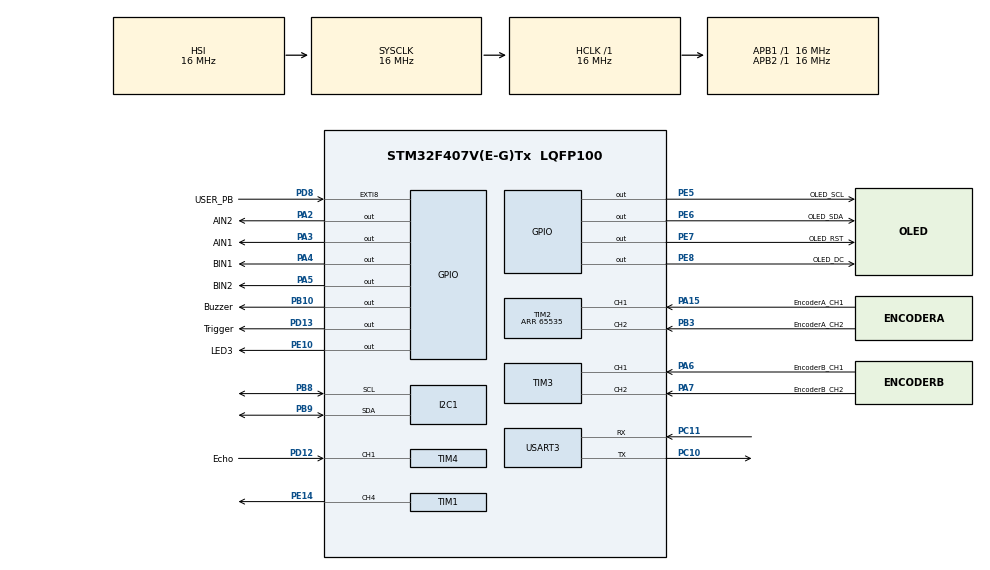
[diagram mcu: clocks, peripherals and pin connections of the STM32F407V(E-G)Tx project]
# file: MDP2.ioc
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FREERTOS.Tasks01=defaultTask,24,128,StartDefaultTask,Default,NULL,Dynamic,NULL,NULL;motorTask,8,128,StartMotorTask,Default,NULL,Dynamic,NULL,NULL;OLEDTask,8,128,StartOLEDTask,Default,NULL,Dynamic,NULL,NULL;gyroTask,8,128,StartGyroTask,Default,NULL,Dynamic,NULL,NULL;ultrasonicTask,8,128,StartUltrasonicTask,Default,NULL,Dynamic,NULL,NULL;communicateTask,8,128,StartCommunicateTask,Default,NULL,Dynamic,NULL,NULL;encoderRTask,8,128,StartEncoderRTask,Default,NULL,Dynamic,NULL,NULL;encoderLTask,8,128,StartEncoderLTask,Default,NULL,Dynamic,NULL,NULL
FREERTOS.configUSE_NEWLIB_REENTRANT=1
Mcu.Family=STM32F4
Mcu.Name=STM32F407V(E-G)Tx
Mcu.Package=LQFP100
NVIC.PriorityGroup=NVIC_PRIORITYGROUP_4
NVIC.RCC_IRQn=true\:5\:0\:false\:false\:true\:true\:true\:false\:true
NVIC.TIM1_BRK_TIM9_IRQn=true\:5\:0\:false\:false\:true\:false\:true\:true\:true
NVIC.TIM1_UP_TIM10_IRQn=true\:5\:0\:false\:false\:true\:false\:true\:true\:true
NVIC.TIM4_IRQn=true\:5\:0\:false\:false\:true\:true\:true\:true\:true
NVIC.TIM8_TRG_COM_TIM14_IRQn=true\:5\:0\:false\:false\:true\:false\:true\:true\:true
NVIC.USART3_IRQn=true\:5\:0\:false\:false\:true\:true\:true\:true\:true
PA15.GPIO_Label=EncoderA_CH1
PA15.Signal=S_TIM2_CH1_ETR
PA2.GPIO_Label=AIN2
PA2.GPIO_Speed=GPIO_SPEED_FREQ_HIGH
PA2.PinState=GPIO_PIN_RESET
PA2.Signal=GPIO_Output
PA3.GPIO_Label=AIN1
PA3.GPIO_Speed=GPIO_SPEED_FREQ_HIGH
PA3.Signal=GPIO_Output
PA4.GPIO_Label=BIN1
PA4.GPIO_Speed=GPIO_SPEED_FREQ_HIGH
PA4.Signal=GPIO_Output
PA5.GPIO_Label=BIN2
PA5.GPIO_Speed=GPIO_SPEED_FREQ_HIGH
PA5.Signal=GPIO_Output
PA6.GPIO_Label=EncoderB_CH1
PA6.Signal=S_TIM3_CH1
PA7.GPIO_Label=EncoderB_CH2
PA7.Signal=S_TIM3_CH2
PB10.GPIO_Label=Buzzer
PB10.Signal=GPIO_Output
PB3.GPIO_Label=EncoderA_CH2
PB3.Signal=S_TIM2_CH2
PB8.Mode=I2C
PB8.Signal=I2C1_SCL
PB9.Mode=I2C
PB9.Signal=I2C1_SDA
PC10.Mode=Asynchronous
PC10.Signal=USART3_TX
PC11.Mode=Asynchronous
PC11.Signal=USART3_RX
PC6.GPIO_Label=PWMA
PC6.Signal=S_TIM8_CH1
PC7.GPIO_Label=PWMB
PC7.Signal=S_TIM8_CH2
PD12.GPIO_Label=Echo
PD12.Signal=S_TIM4_CH1
PD13.GPIO_Label=Trigger
PD13.Signal=GPIO_Output
PD8.GPIO_Label=USER_PB
PD8.Signal=GPXTI8
PE10.GPIO_Label=LED3
PE10.Signal=GPIO_Output
PE14.Signal=S_TIM1_CH4
PE5.GPIO_Label=OLED_SCL
PE5.Signal=GPIO_Output
PE6.GPIO_Label=OLED_SDA
PE6.Signal=GPIO_Output
PE7.GPIO_Label=OLED_RST
PE7.Signal=GPIO_Output
PE8.GPIO_Label=OLED_DC
PE8.Signal=GPIO_Output
PH0-OSC_IN.Mode=HSE-External-Oscillator
PH0-OSC_IN.Signal=RCC_OSC_IN
PH1-OSC_OUT.Mode=HSE-External-Oscillator
PH1-OSC_OUT.Signal=RCC_OSC_OUT
ProjectManager.HeapSize=0x200
ProjectManager.StackSize=0x400
ProjectManager.TargetToolchain=STM32CubeIDE
RCC.AHBFreq_Value=16000000
RCC.APB1Freq_Value=16000000
RCC.APB2Freq_Value=16000000
RCC.CortexFreq_Value=16000000
RCC.HSE_VALUE=25000000
RCC.HSI_VALUE=16000000
RCC.LSE_VALUE=32768
RCC.SYSCLKFreq_VALUE=16000000
RCC.VCOOutputFreq_Value=192000000
SH.S_TIM1_CH4.0=TIM1_CH4,PWM Generation4 CH4
SH.S_TIM2_CH1_ETR.0=TIM2_CH1,Encoder_Interface
SH.S_TIM2_CH2.0=TIM2_CH2,Encoder_Interface
SH.S_TIM3_CH1.0=TIM3_CH1,Encoder_Interface
SH.S_TIM3_CH2.0=TIM3_CH2,Encoder_Interface
SH.S_TIM4_CH1.0=TIM4_CH1,Input_Capture1_from_TI1
SH.S_TIM8_CH1.0=TIM8_CH1
SH.S_TIM8_CH2.0=TIM8_CH2
TIM1.AutoReloadPreload=TIM_AUTORELOAD_PRELOAD_ENABLE
TIM1.Channel-PWM\ Generation4\ CH4=TIM_CHANNEL_4
TIM1.Period=1000
TIM1.Prescaler=160
TIM2.EncoderMode=TIM_ENCODERMODE_TI12
TIM2.IC1Filter=10
TIM2.IC2Filter=10
TIM2.Period=65535
TIM3.EncoderMode=TIM_ENCODERMODE_TI12
TIM3.IC1Filter=10
TIM3.IC2Filter=10
TIM4.Channel-Input_Capture1_from_TI1=TIM_CHANNEL_1
TIM8.Channel-PWM\ Generation1\ No\ Output=TIM_CHANNEL_1
TIM8.Channel-PWM\ Generation2\ No\ Output=TIM_CHANNEL_2
TIM8.Period=7199
USART3.VirtualMode=VM_ASYNC
VP_FREERTOS_VS_CMSIS_V2.Mode=CMSIS_V2
VP_TIM1_VS_ClockSourceINT.Mode=Internal
VP_TIM8_VS_ClockSourceINT.Mode=Internal
VP_TIM8_VS_no_output1.Mode=PWM Generation1 No Output
VP_TIM8_VS_no_output2.Mode=PWM Generation2 No Output
board=custom

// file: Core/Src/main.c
/* USER CODE BEGIN Header */
/**
 ******************************************************************************
 * @file           : main.c
 * @brief          : Main program body
 ******************************************************************************
 * @attention
 *
 * Copyright (c) 2023 STMicroelectronics.
 * All rights reserved.
 *
 * This software is licensed under terms that can be found in the LICENSE file
 * in the root directory of this software component.
 * If no LICENSE file comes with this software, it is provided AS-IS.
 *
 ******************************************************************************
 */
/* USER CODE END Header */
#include "main.h"
#include "cmsis_os.h"

/* USER CODE BEGIN PD */
#define SERVOCENTER 150
#define SERVORIGHT 210
#define SERVOLEFT 105
/* USER CODE END PD */

I2C_HandleTypeDef hi2c1;

TIM_HandleTypeDef htim1;
TIM_HandleTypeDef htim2;
TIM_HandleTypeDef htim3;
TIM_HandleTypeDef htim4;
TIM_HandleTypeDef htim8;

UART_HandleTypeDef huart3;

/* Definitions for defaultTask */
osThreadId_t defaultTaskHandle;
const osThreadAttr_t defaultTask_attributes = { .name = "defaultTask",
		.stack_size = 128 * 4, .priority = (osPriority_t) osPriorityNormal, };
/* Definitions for motorTask */
osThreadId_t motorTaskHandle;
const osThreadAttr_t motorTask_attributes = { .name = "motorTask", .stack_size =
		128 * 4, .priority = (osPriority_t) osPriorityLow, };
/* Definitions for OLEDTask */
osThreadId_t OLEDTaskHandle;
const osThreadAttr_t OLEDTask_attributes = { .name = "OLEDTask", .stack_size =
		128 * 4, .priority = (osPriority_t) osPriorityLow, };
/* Definitions for gyroTask */
osThreadId_t gyroTaskHandle;
const osThreadAttr_t gyroTask_attributes = { .name = "gyroTask", .stack_size =
		128 * 4, .priority = (osPriority_t) osPriorityLow, };
/* Definitions for ultrasonicTask */
osThreadId_t ultrasonicTaskHandle;
const osThreadAttr_t ultrasonicTask_attributes = { .name = "ultrasonicTask",
		.stack_size = 128 * 4, .priority = (osPriority_t) osPriorityLow, };
/* Definitions for communicateTask */
osThreadId_t communicateTaskHandle;
const osThreadAttr_t communicateTask_attributes = { .name = "communicateTask",
		.stack_size = 128 * 4, .priority = (osPriority_t) osPriorityLow, };
/* Definitions for encoderRTask */
osThreadId_t encoderRTaskHandle;
const osThreadAttr_t encoderRTask_attributes = { .name = "encoderRTask",
		.stack_size = 128 * 4, .priority = (osPriority_t) osPriorityLow, };
/* Definitions for encoderLTask */
osThreadId_t encoderLTaskHandle;
const osThreadAttr_t encoderLTask_attributes = { .name = "encoderLTask",
		.stack_size = 128 * 4, .priority = (osPriority_t) osPriorityLow, };

void SystemClock_Config(void);
static void MX_GPIO_Init(void);
static void MX_I2C1_Init(void);
static void MX_TIM1_Init(void);
static void MX_TIM2_Init(void);
static void MX_TIM3_Init(void);
static void MX_TIM4_Init(void);
static void MX_TIM8_Init(void);
static void MX_USART3_UART_Init(void);
void StartDefaultTask(void *argument);
void StartMotorTask(void *argument);
void StartOLEDTask(void *argument);
void StartGyroTask(void *argument);
void StartUltrasonicTask(void *argument);
void StartCommunicateTask(void *argument);
void StartEncoderRTask(void *argument);
void StartEncoderLTask(void *argument);

/* USER CODE BEGIN 0 */
// communication
uint8_t aRxBuffer[5] = { 0 };
int flagDone = 0;
int magnitude = 0;

// movement
uint16_t pwmVal_servo = SERVOCENTER;
uint16_t pwmVal_R = 0;
uint16_t pwmVal_L = 0;
int times_acceptable = 0;
int e_brake = 0;
//int stopped = 0;

// encoder
int32_t rightEncoderVal = 0, leftEncoderVal = 0;
int32_t rightTarget = 0, leftTarget = 0;
double target_angle = 0;

// gyro
double total_angle = 0;
uint8_t gyroBuffer[20];
uint8_t ICMAddress = 0x68;
double error_angle = 0;
// ultrasonic
int Is_First_Captured = 0;
int32_t IC_Val1 = 0;
int32_t IC_Val2 = 0;
uint16_t Difference = 0;
uint16_t uDistance = 0;
int k=0;
/* USER CODE END 0 */

int main(void) {

	/* MCU Configuration--------------------------------------------------------*/

	/* Reset of all peripherals, Initializes the Flash interface and the Systick. */
	HAL_Init();

	/* Configure the system clock */
	SystemClock_Config();

	/* Initialize all configured peripherals */
	MX_GPIO_Init();
	MX_I2C1_Init();
	MX_TIM1_Init();
	MX_TIM2_Init();
	MX_TIM3_Init();
	MX_TIM4_Init();
	MX_TIM8_Init();
	MX_USART3_UART_Init();
	/* USER CODE BEGIN 2 */
	OLED_Init();
	HAL_UART_Receive_IT(&huart3, (uint8_t*) aRxBuffer, 5);
	/* USER CODE END 2 */

	/* Init scheduler */
	osKernelInitialize();

	/* Create the thread(s) */
	/* creation of defaultTask */
	defaultTaskHandle = osThreadNew(StartDefaultTask, NULL,
			&defaultTask_attributes);

	/* creation of motorTask */
	motorTaskHandle = osThreadNew(StartMotorTask, NULL, &motorTask_attributes);

	/* creation of OLEDTask */
	OLEDTaskHandle = osThreadNew(StartOLEDTask, NULL, &OLEDTask_attributes);

	/* creation of gyroTask */
	gyroTaskHandle = osThreadNew(StartGyroTask, NULL, &gyroTask_attributes);

	/* creation of ultrasonicTask */
	ultrasonicTaskHandle = osThreadNew(StartUltrasonicTask, NULL,
			&ultrasonicTask_attributes);

	/* creation of communicateTask */
	communicateTaskHandle = osThreadNew(StartCommunicateTask, NULL,
			&communicateTask_attributes);

	/* creation of encoderRTask */
	encoderRTaskHandle = osThreadNew(StartEncoderRTask, NULL,
			&encoderRTask_attributes);

	/* creation of encoderLTask */
	encoderLTaskHandle = osThreadNew(StartEncoderLTask, NULL,
			&encoderLTask_attributes);

	/* Start scheduler */
	osKernelStart();

	/* We should never get here as control is now taken by the scheduler */
	/* Infinite loop */
	while (1) {

	}
}

void SystemClock_Config(void) {
	RCC_OscInitTypeDef RCC_OscInitStruct = { 0 };
	RCC_ClkInitTypeDef RCC_ClkInitStruct = { 0 };

	/** Configure the main internal regulator output voltage
	 */
	__HAL_RCC_PWR_CLK_ENABLE();
	__HAL_PWR_VOLTAGESCALING_CONFIG(PWR_REGULATOR_VOLTAGE_SCALE1);

	/** Initializes the RCC Oscillators according to the specified parameters
	 * in the RCC_OscInitTypeDef structure.
	 */
	RCC_OscInitStruct.OscillatorType = RCC_OSCILLATORTYPE_HSI;
	RCC_OscInitStruct.HSIState = RCC_HSI_ON;
	RCC_OscInitStruct.HSICalibrationValue = RCC_HSICALIBRATION_DEFAULT;
	RCC_OscInitStruct.PLL.PLLState = RCC_PLL_NONE;
	if (HAL_RCC_OscConfig(&RCC_OscInitStruct) != HAL_OK) {
		Error_Handler();
	}

	/** Initializes the CPU, AHB and APB buses clocks
	 */
	RCC_ClkInitStruct.ClockType = RCC_CLOCKTYPE_HCLK | RCC_CLOCKTYPE_SYSCLK
			| RCC_CLOCKTYPE_PCLK1 | RCC_CLOCKTYPE_PCLK2;
	RCC_ClkInitStruct.SYSCLKSource = RCC_SYSCLKSOURCE_HSI;
	RCC_ClkInitStruct.AHBCLKDivider = RCC_SYSCLK_DIV1;
	RCC_ClkInitStruct.APB1CLKDivider = RCC_HCLK_DIV1;
	RCC_ClkInitStruct.APB2CLKDivider = RCC_HCLK_DIV1;

	if (HAL_RCC_ClockConfig(&RCC_ClkInitStruct, FLASH_LATENCY_0) != HAL_OK) {
		Error_Handler();
	}
}

static void MX_I2C1_Init(void) {

	hi2c1.Instance = I2C1;
	hi2c1.Init.ClockSpeed = 100000;
	hi2c1.Init.DutyCycle = I2C_DUTYCYCLE_2;
	hi2c1.Init.OwnAddress1 = 0;
	hi2c1.Init.AddressingMode = I2C_ADDRESSINGMODE_7BIT;
	hi2c1.Init.DualAddressMode = I2C_DUALADDRESS_DISABLE;
	hi2c1.Init.OwnAddress2 = 0;
	hi2c1.Init.GeneralCallMode = I2C_GENERALCALL_DISABLE;
	hi2c1.Init.NoStretchMode = I2C_NOSTRETCH_DISABLE;
	if (HAL_I2C_Init(&hi2c1) != HAL_OK) {
		Error_Handler();
	}

}

static void MX_TIM1_Init(void) {

	TIM_ClockConfigTypeDef sClockSourceConfig = { 0 };
	TIM_MasterConfigTypeDef sMasterConfig = { 0 };
	TIM_OC_InitTypeDef sConfigOC = { 0 };
	TIM_BreakDeadTimeConfigTypeDef sBreakDeadTimeConfig = { 0 };

	htim1.Instance = TIM1;
	htim1.Init.Prescaler = 160;
	htim1.Init.CounterMode = TIM_COUNTERMODE_UP;
	htim1.Init.Period = 1000;
	htim1.Init.ClockDivision = TIM_CLOCKDIVISION_DIV1;
	htim1.Init.RepetitionCounter = 0;
	htim1.Init.AutoReloadPreload = TIM_AUTORELOAD_PRELOAD_ENABLE;
	if (HAL_TIM_Base_Init(&htim1) != HAL_OK) {
		Error_Handler();
	}
	sClockSourceConfig.ClockSource = TIM_CLOCKSOURCE_INTERNAL;
	if (HAL_TIM_ConfigClockSource(&htim1, &sClockSourceConfig) != HAL_OK) {
		Error_Handler();
	}
	if (HAL_TIM_PWM_Init(&htim1) != HAL_OK) {
		Error_Handler();
	}
	sMasterConfig.MasterOutputTrigger = TIM_TRGO_RESET;
	sMasterConfig.MasterSlaveMode = TIM_MASTERSLAVEMODE_DISABLE;
	if (HAL_TIMEx_MasterConfigSynchronization(&htim1, &sMasterConfig)
			!= HAL_OK) {
		Error_Handler();
	}
	sConfigOC.OCMode = TIM_OCMODE_PWM1;
	sConfigOC.Pulse = 0;
	sConfigOC.OCPolarity = TIM_OCPOLARITY_HIGH;
	sConfigOC.OCFastMode = TIM_OCFAST_DISABLE;
	sConfigOC.OCIdleState = TIM_OCIDLESTATE_RESET;
	sConfigOC.OCNIdleState = TIM_OCNIDLESTATE_RESET;
	if (HAL_TIM_PWM_ConfigChannel(&htim1, &sConfigOC, TIM_CHANNEL_4)
			!= HAL_OK) {
		Error_Handler();
	}
	sBreakDeadTimeConfig.OffStateRunMode = TIM_OSSR_DISABLE;
	sBreakDeadTimeConfig.OffStateIDLEMode = TIM_OSSI_DISABLE;
	sBreakDeadTimeConfig.LockLevel = TIM_LOCKLEVEL_OFF;
	sBreakDeadTimeConfig.DeadTime = 0;
	sBreakDeadTimeConfig.BreakState = TIM_BREAK_DISABLE;
	sBreakDeadTimeConfig.BreakPolarity = TIM_BREAKPOLARITY_HIGH;
	sBreakDeadTimeConfig.AutomaticOutput = TIM_AUTOMATICOUTPUT_DISABLE;
	if (HAL_TIMEx_ConfigBreakDeadTime(&htim1, &sBreakDeadTimeConfig)
			!= HAL_OK) {
		Error_Handler();
	}
	HAL_TIM_MspPostInit(&htim1);

}

static void MX_TIM2_Init(void) {

	TIM_Encoder_InitTypeDef sConfig = { 0 };
	TIM_MasterConfigTypeDef sMasterConfig = { 0 };

	htim2.Instance = TIM2;
	htim2.Init.Prescaler = 0;
	htim2.Init.CounterMode = TIM_COUNTERMODE_UP;
	htim2.Init.Period = 65535;
	htim2.Init.ClockDivision = TIM_CLOCKDIVISION_DIV1;
	htim2.Init.AutoReloadPreload = TIM_AUTORELOAD_PRELOAD_DISABLE;
	sConfig.EncoderMode = TIM_ENCODERMODE_TI12;
	sConfig.IC1Polarity = TIM_ICPOLARITY_RISING;
	sConfig.IC1Selection = TIM_ICSELECTION_DIRECTTI;
	sConfig.IC1Prescaler = TIM_ICPSC_DIV1;
	sConfig.IC1Filter = 10;
	sConfig.IC2Polarity = TIM_ICPOLARITY_RISING;
	sConfig.IC2Selection = TIM_ICSELECTION_DIRECTTI;
	sConfig.IC2Prescaler = TIM_ICPSC_DIV1;
	sConfig.IC2Filter = 10;
	if (HAL_TIM_Encoder_Init(&htim2, &sConfig) != HAL_OK) {
		Error_Handler();
	}
	sMasterConfig.MasterOutputTrigger = TIM_TRGO_RESET;
	sMasterConfig.MasterSlaveMode = TIM_MASTERSLAVEMODE_DISABLE;
	if (HAL_TIMEx_MasterConfigSynchronization(&htim2, &sMasterConfig)
			!= HAL_OK) {
		Error_Handler();
	}

}

static void MX_TIM3_Init(void) {

	TIM_Encoder_InitTypeDef sConfig = { 0 };
	TIM_MasterConfigTypeDef sMasterConfig = { 0 };

	htim3.Instance = TIM3;
	htim3.Init.Prescaler = 0;
	htim3.Init.CounterMode = TIM_COUNTERMODE_UP;
	htim3.Init.Period = 65535;
	htim3.Init.ClockDivision = TIM_CLOCKDIVISION_DIV1;
	htim3.Init.AutoReloadPreload = TIM_AUTORELOAD_PRELOAD_DISABLE;
	sConfig.EncoderMode = TIM_ENCODERMODE_TI12;
	sConfig.IC1Polarity = TIM_ICPOLARITY_RISING;
	sConfig.IC1Selection = TIM_ICSELECTION_DIRECTTI;
	sConfig.IC1Prescaler = TIM_ICPSC_DIV1;
	sConfig.IC1Filter = 10;
	sConfig.IC2Polarity = TIM_ICPOLARITY_RISING;
	sConfig.IC2Selection = TIM_ICSELECTION_DIRECTTI;
	sConfig.IC2Prescaler = TIM_ICPSC_DIV1;
	sConfig.IC2Filter = 10;
	if (HAL_TIM_Encoder_Init(&htim3, &sConfig) != HAL_OK) {
		Error_Handler();
	}
	sMasterConfig.MasterOutputTrigger = TIM_TRGO_RESET;
	sMasterConfig.MasterSlaveMode = TIM_MASTERSLAVEMODE_DISABLE;
	if (HAL_TIMEx_MasterConfigSynchronization(&htim3, &sMasterConfig)
			!= HAL_OK) {
		Error_Handler();
	}

}

static void MX_TIM4_Init(void) {

	TIM_MasterConfigTypeDef sMasterConfig = { 0 };
	TIM_IC_InitTypeDef sConfigIC = { 0 };

	htim4.Instance = TIM4;
	htim4.Init.Prescaler = 16 - 1;
	htim4.Init.CounterMode = TIM_COUNTERMODE_UP;
	htim4.Init.Period = 65535;
	htim4.Init.ClockDivision = TIM_CLOCKDIVISION_DIV1;
	htim4.Init.AutoReloadPreload = TIM_AUTORELOAD_PRELOAD_DISABLE;
	if (HAL_TIM_IC_Init(&htim4) != HAL_OK) {
		Error_Handler();
	}
	sMasterConfig.MasterOutputTrigger = TIM_TRGO_RESET;
	sMasterConfig.MasterSlaveMode = TIM_MASTERSLAVEMODE_DISABLE;
	if (HAL_TIMEx_MasterConfigSynchronization(&htim4, &sMasterConfig)
			!= HAL_OK) {
		Error_Handler();
	}
	sConfigIC.ICPolarity = TIM_INPUTCHANNELPOLARITY_RISING;
	sConfigIC.ICSelection = TIM_ICSELECTION_DIRECTTI;
	sConfigIC.ICPrescaler = TIM_ICPSC_DIV1;
	sConfigIC.ICFilter = 0;
	if (HAL_TIM_IC_ConfigChannel(&htim4, &sConfigIC, TIM_CHANNEL_1) != HAL_OK) {
		Error_Handler();
	}

}

static void MX_TIM8_Init(void) {

	TIM_ClockConfigTypeDef sClockSourceConfig = { 0 };
	TIM_MasterConfigTypeDef sMasterConfig = { 0 };
	TIM_OC_InitTypeDef sConfigOC = { 0 };
	TIM_BreakDeadTimeConfigTypeDef sBreakDeadTimeConfig = { 0 };

	htim8.Instance = TIM8;
	htim8.Init.Prescaler = 0;
	htim8.Init.CounterMode = TIM_COUNTERMODE_UP;
	htim8.Init.Period = 7199;
	htim8.Init.ClockDivision = TIM_CLOCKDIVISION_DIV1;
	htim8.Init.RepetitionCounter = 0;
	htim8.Init.AutoReloadPreload = TIM_AUTORELOAD_PRELOAD_DISABLE;
	if (HAL_TIM_Base_Init(&htim8) != HAL_OK) {
		Error_Handler();
	}
	sClockSourceConfig.ClockSource = TIM_CLOCKSOURCE_INTERNAL;
	if (HAL_TIM_ConfigClockSource(&htim8, &sClockSourceConfig) != HAL_OK) {
		Error_Handler();
	}
	if (HAL_TIM_PWM_Init(&htim8) != HAL_OK) {
		Error_Handler();
	}
	sMasterConfig.MasterOutputTrigger = TIM_TRGO_RESET;
	sMasterConfig.MasterSlaveMode = TIM_MASTERSLAVEMODE_DISABLE;
	if (HAL_TIMEx_MasterConfigSynchronization(&htim8, &sMasterConfig)
			!= HAL_OK) {
		Error_Handler();
	}
	sConfigOC.OCMode = TIM_OCMODE_PWM1;
	sConfigOC.Pulse = 0;
	sConfigOC.OCPolarity = TIM_OCPOLARITY_HIGH;
	sConfigOC.OCNPolarity = TIM_OCNPOLARITY_HIGH;
	sConfigOC.OCFastMode = TIM_OCFAST_DISABLE;
	sConfigOC.OCIdleState = TIM_OCIDLESTATE_RESET;
	sConfigOC.OCNIdleState = TIM_OCNIDLESTATE_RESET;
	if (HAL_TIM_PWM_ConfigChannel(&htim8, &sConfigOC, TIM_CHANNEL_1)
			!= HAL_OK) {
		Error_Handler();
	}
	if (HAL_TIM_PWM_ConfigChannel(&htim8, &sConfigOC, TIM_CHANNEL_2)
			!= HAL_OK) {
		Error_Handler();
	}
	sBreakDeadTimeConfig.OffStateRunMode = TIM_OSSR_DISABLE;
	sBreakDeadTimeConfig.OffStateIDLEMode = TIM_OSSI_DISABLE;
	sBreakDeadTimeConfig.LockLevel = TIM_LOCKLEVEL_OFF;
	sBreakDeadTimeConfig.DeadTime = 0;
	sBreakDeadTimeConfig.BreakState = TIM_BREAK_DISABLE;
	sBreakDeadTimeConfig.BreakPolarity = TIM_BREAKPOLARITY_HIGH;
	sBreakDeadTimeConfig.AutomaticOutput = TIM_AUTOMATICOUTPUT_DISABLE;
	if (HAL_TIMEx_ConfigBreakDeadTime(&htim8, &sBreakDeadTimeConfig)
			!= HAL_OK) {
		Error_Handler();
	}

}

static void MX_USART3_UART_Init(void) {

	huart3.Instance = USART3;
	huart3.Init.BaudRate = 115200;
	huart3.Init.WordLength = UART_WORDLENGTH_8B;
	huart3.Init.StopBits = UART_STOPBITS_1;
	huart3.Init.Parity = UART_PARITY_NONE;
	huart3.Init.Mode = UART_MODE_TX_RX;
	huart3.Init.HwFlowCtl = UART_HWCONTROL_NONE;
	huart3.Init.OverSampling = UART_OVERSAMPLING_16;
	if (HAL_UART_Init(&huart3) != HAL_OK) {
		Error_Handler();
	}

}

static void MX_GPIO_Init(void) {
	GPIO_InitTypeDef GPIO_InitStruct = { 0 };

	/* GPIO Ports Clock Enable */
	__HAL_RCC_GPIOE_CLK_ENABLE();
	__HAL_RCC_GPIOH_CLK_ENABLE();
	__HAL_RCC_GPIOA_CLK_ENABLE();
	__HAL_RCC_GPIOB_CLK_ENABLE();
	__HAL_RCC_GPIOD_CLK_ENABLE();
	__HAL_RCC_GPIOC_CLK_ENABLE();

	/*Configure GPIO pin Output Level */
	HAL_GPIO_WritePin(GPIOE,
	OLED_SCL_Pin | OLED_SDA_Pin | OLED_RST_Pin | OLED_DC_Pin | LED3_Pin,
			GPIO_PIN_RESET);

	/*Configure GPIO pin Output Level */
	HAL_GPIO_WritePin(GPIOA, AIN2_Pin | AIN1_Pin | BIN1_Pin | BIN2_Pin,
			GPIO_PIN_RESET);

	/*Configure GPIO pin Output Level */
	HAL_GPIO_WritePin(Buzzer_GPIO_Port, Buzzer_Pin, GPIO_PIN_RESET);

	/*Configure GPIO pin Output Level */
	HAL_GPIO_WritePin(Trigger_GPIO_Port, Trigger_Pin, GPIO_PIN_RESET);

	/*Configure GPIO pins : OLED_SCL_Pin OLED_SDA_Pin OLED_RST_Pin OLED_DC_Pin
	 LED3_Pin */
	GPIO_InitStruct.Pin = OLED_SCL_Pin | OLED_SDA_Pin | OLED_RST_Pin
			| OLED_DC_Pin | LED3_Pin;
	GPIO_InitStruct.Mode = GPIO_MODE_OUTPUT_PP;
	GPIO_InitStruct.Pull = GPIO_NOPULL;
	GPIO_InitStruct.Speed = GPIO_SPEED_FREQ_LOW;
	HAL_GPIO_Init(GPIOE, &GPIO_InitStruct);

	/*Configure GPIO pins : AIN2_Pin AIN1_Pin BIN1_Pin BIN2_Pin */
	GPIO_InitStruct.Pin = AIN2_Pin | AIN1_Pin | BIN1_Pin | BIN2_Pin;
	GPIO_InitStruct.Mode = GPIO_MODE_OUTPUT_PP;
	GPIO_InitStruct.Pull = GPIO_NOPULL;
	GPIO_InitStruct.Speed = GPIO_SPEED_FREQ_HIGH;
	HAL_GPIO_Init(GPIOA, &GPIO_InitStruct);

	/*Configure GPIO pin : Buzzer_Pin */
	GPIO_InitStruct.Pin = Buzzer_Pin;
	GPIO_InitStruct.Mode = GPIO_MODE_OUTPUT_PP;
	GPIO_InitStruct.Pull = GPIO_NOPULL;
	GPIO_InitStruct.Speed = GPIO_SPEED_FREQ_LOW;
	HAL_GPIO_Init(Buzzer_GPIO_Port, &GPIO_InitStruct);

	/*Configure GPIO pin : USER_PB_Pin */
	GPIO_InitStruct.Pin = USER_PB_Pin;
	GPIO_InitStruct.Mode = GPIO_MODE_IT_RISING;
	GPIO_InitStruct.Pull = GPIO_NOPULL;
	HAL_GPIO_Init(USER_PB_GPIO_Port, &GPIO_InitStruct);

	/*Configure GPIO pin : Trigger_Pin */
	GPIO_InitStruct.Pin = Trigger_Pin;
	GPIO_InitStruct.Mode = GPIO_MODE_OUTPUT_PP;
	GPIO_InitStruct.Pull = GPIO_NOPULL;
	GPIO_InitStruct.Speed = GPIO_SPEED_FREQ_LOW;
	HAL_GPIO_Init(Trigger_GPIO_Port, &GPIO_InitStruct);

}

/* USER CODE BEGIN 4 */
// communication
void HAL_UART_RxCpltCallback(UART_HandleTypeDef *huart) {
	/* to prevent unused argument(s) compilation warning */
	UNUSED(huart);
	HAL_UART_Receive_IT(&huart3, aRxBuffer, 5);
}

// ultrasonic
void delay(uint16_t time) {
	__HAL_TIM_SET_COUNTER(&htim4, 0);
	while (__HAL_TIM_GET_COUNTER (&htim4) < time)
		;
}

void HAL_TIM_IC_CaptureCallback(TIM_HandleTypeDef *htim) {
	if (htim->Channel == HAL_TIM_ACTIVE_CHANNEL_1) {
		if (Is_First_Captured == 0) {
			IC_Val1 = HAL_TIM_ReadCapturedValue(htim, TIM_CHANNEL_1);
			Is_First_Captured = 1;
			__HAL_TIM_SET_CAPTUREPOLARITY(htim, TIM_CHANNEL_1,
					TIM_INPUTCHANNELPOLARITY_FALLING);
		} else if (Is_First_Captured == 1) {
			IC_Val2 = HAL_TIM_ReadCapturedValue(htim, TIM_CHANNEL_1);
			__HAL_TIM_SET_COUNTER(htim, 0);

			if (IC_Val2 > IC_Val1) {
				Difference = IC_Val2 - IC_Val1;
			}

			else if (IC_Val1 > IC_Val2) {
				Difference = (65535 - IC_Val1) + IC_Val2;
			}

			uDistance = Difference * .0343 / 2;

			Is_First_Captured = 0;

			__HAL_TIM_SET_CAPTUREPOLARITY(htim, TIM_CHANNEL_1,
					TIM_INPUTCHANNELPOLARITY_RISING);
			__HAL_TIM_DISABLE_IT(&htim4, TIM_IT_CC1);
		}
	}
}

void HCSR04_Read(void) //Call when u want to get reading from US
{
	HAL_GPIO_WritePin(Trigger_GPIO_Port, Trigger_Pin, GPIO_PIN_SET);
	delay(10);
	HAL_GPIO_WritePin(Trigger_GPIO_Port, Trigger_Pin, GPIO_PIN_RESET);
	__HAL_TIM_ENABLE_IT(&htim4, TIM_IT_CC1);
}

// movement
void moveCarStraight(double distance) {
	distance = distance * 75 * 0.99;
	pwmVal_servo = SERVOCENTER;
	osDelay(300);
	e_brake = 0;
	times_acceptable = 0;
	rightEncoderVal = 75000;
	leftEncoderVal = 75000;
	rightTarget = 75000;
	leftTarget = 75000;
	rightTarget += distance;
	leftTarget += distance;
	while (finishCheck())
		;
//	if (stopped == 1) {
//		vTaskResume(ultrasonicTaskHandle);
//		stopped = 0;
//	}
}

void buzzerBeep()
{
	HAL_GPIO_TogglePin(GPIOB, GPIO_PIN_10); //Buzzer On
	HAL_Delay(1000);
	HAL_GPIO_TogglePin(GPIOB, GPIO_PIN_10); //Buzzer Off
}

void moveCarStop() {
	e_brake = 1;
	pwmVal_servo = SERVOCENTER;
	osDelay(300);
}

void moveCarRight(double angle) {
	pwmVal_servo = SERVORIGHT;
	osDelay(300);
	e_brake = 0;
	times_acceptable = 0;
	target_angle -= angle;
	while (finishCheck())
		;
//	if (stopped == 1) {
//		vTaskResume(ultrasonicTaskHandle);
//		stopped = 0;
//	}
}

void moveCarLeft(double angle) {
	pwmVal_servo = SERVOLEFT;
	osDelay(300);
	e_brake = 0;
	times_acceptable = 0;
	target_angle += angle;
	while (finishCheck())
		;
//	if (stopped == 1) {
//		vTaskResume(ultrasonicTaskHandle);
//		stopped = 0;
//	}
}

// error correction
int PID_Control(int error, int right) {
	if (right) { //rightMotor
		if (error > 0) { //go forward
			HAL_GPIO_WritePin(GPIOA, BIN1_Pin, GPIO_PIN_SET); // set direction of rotation for wheel B- forward
			HAL_GPIO_WritePin(GPIOA, BIN2_Pin, GPIO_PIN_RESET);
		} else { //go backward
			HAL_GPIO_WritePin(GPIOA, BIN1_Pin, GPIO_PIN_RESET); // set direction of rotation for wheel B - reverse
			HAL_GPIO_WritePin(GPIOA, BIN2_Pin, GPIO_PIN_SET);
		}
	} else { //leftMotor
		if (error > 0) { //go forward
			HAL_GPIO_WritePin(GPIOA, AIN1_Pin, GPIO_PIN_SET); // set direction of rotation for wheel A - forward
			HAL_GPIO_WritePin(GPIOA, AIN2_Pin, GPIO_PIN_RESET);
		} else { //go backward
			HAL_GPIO_WritePin(GPIOA, AIN1_Pin, GPIO_PIN_RESET); // set direction of rotation for wheel A - reverse
			HAL_GPIO_WritePin(GPIOA, AIN2_Pin, GPIO_PIN_SET);
		}
	}

	error = abs(error);
	if (error > 2000) {
		return 3000;
	} else if (error > 500) {
		return 2500;
	} else if (error > 200) {
		return 1700;
	} else if (error > 100) {
		return 1000;
	} else if (error > 2) {
		times_acceptable++;
		return 700;
	} else if (error >= 1) {
		times_acceptable++;
		return 0;
	} else {
		times_acceptable++;
		return 0;
	}
}

int PID_Angle(double errord, int right) {
	int error = (int) (errord * 10);
	if (right) { //rightMotor
		if (error > 0) { //go forward
			HAL_GPIO_WritePin(GPIOA, BIN1_Pin, GPIO_PIN_SET); // set direction of rotation for wheel B- forward
			HAL_GPIO_WritePin(GPIOA, BIN2_Pin, GPIO_PIN_RESET);
		} else { //go backward
			HAL_GPIO_WritePin(GPIOA, BIN1_Pin, GPIO_PIN_RESET); // set direction of rotation for wheel B - reverse
			HAL_GPIO_WritePin(GPIOA, BIN2_Pin, GPIO_PIN_SET);
		}
	} else { //leftMotor
		if (error < 0) { //go forward
			HAL_GPIO_WritePin(GPIOA, AIN1_Pin, GPIO_PIN_SET); // set direction of rotation for wheel A - forward
			HAL_GPIO_WritePin(GPIOA, AIN2_Pin, GPIO_PIN_RESET);
		} else { //go backward
			HAL_GPIO_WritePin(GPIOA, AIN1_Pin, GPIO_PIN_RESET); // set direction of rotation for wheel A - reverse
			HAL_GPIO_WritePin(GPIOA, AIN2_Pin, GPIO_PIN_SET);
		}
	}

	error = abs(error);
	if (error > 300) {
		return 3000;
	} else if (error > 200) {
		return 2600;
	} else if (error > 150) {
		return 1700;
	} else if (error > 100) {
		return 1500;
	} else if (error > 10) {
		return 1200;
	} else if (error >= 2) {
		times_acceptable++;
		return 1000;
	} else {
		times_acceptable++;
		return 0;
	}
}

int finishCheck() {
	if (times_acceptable > 20) {
		e_brake = 1;
		pwmVal_L = pwmVal_R = 0;
		leftTarget = leftEncoderVal;
		rightTarget = rightEncoderVal;
		times_acceptable = 0;
		osDelay(300);

		return 0;
	}
	return 1;
}

// gyro
void readByte(uint8_t addr, uint8_t *data) {
	gyroBuffer[0] = addr;
	HAL_I2C_Master_Transmit(&hi2c1, ICMAddress << 1, gyroBuffer, 1, 10);
	HAL_I2C_Master_Receive(&hi2c1, ICMAddress << 1, data, 2, 20);
}

void writeByte(uint8_t addr, uint8_t data) {
	gyroBuffer[0] = addr;
	gyroBuffer[1] = data;
	HAL_I2C_Master_Transmit(&hi2c1, ICMAddress << 1, gyroBuffer, 2, 20);
}

void gyroInit() {
	writeByte(0x06, 0x00);
	osDelay(10);
	writeByte(0x03, 0x80);
	osDelay(10);
	writeByte(0x07, 0x07);
	osDelay(10);
	writeByte(0x06, 0x01);
	osDelay(10);
	writeByte(0x7F, 0x20);
	osDelay(10);
	writeByte(0x01, 0x2F);
	osDelay(10);
	writeByte(0x0, 0x00);
	osDelay(10);
	writeByte(0x7F, 0x00);
	osDelay(10);
	writeByte(0x07, 0x00);
	osDelay(10);
}
/* USER CODE END 4 */

void StartDefaultTask(void *argument) {
	/* USER CODE BEGIN 5 */
	/* Infinite loop */
	for (;;) {
		HAL_GPIO_TogglePin(LED3_GPIO_Port, LED3_Pin);
		osDelay(2000);
	}
	/* USER CODE END 5 */
}

void StartMotorTask(void *argument) {
	/* USER CODE BEGIN StartMotorTask */
	pwmVal_R = 0;
	pwmVal_L = 0;
	int straightCorrection = 0;
	HAL_TIM_PWM_Start(&htim8, TIM_CHANNEL_1);
	HAL_TIM_PWM_Start(&htim8, TIM_CHANNEL_2);
	HAL_TIM_PWM_Start(&htim1, TIM_CHANNEL_4);
	htim1.Instance->CCR4 = SERVOCENTER; //Centre

	osDelay(1000);

	/* Infinite loop */
	for (;;) {
		htim1.Instance->CCR4 = pwmVal_servo;
		error_angle = target_angle - total_angle;

		if (pwmVal_servo < 127) { //106 //TURN LEFT
			pwmVal_R = PID_Angle(error_angle, 1)*1.1;  //right is master
			pwmVal_L = pwmVal_R * (0.33); //left is slave

			if (error_angle > 0) {
				//go forward
				//pwmVal_L = pwmVal_R * (0.79); //left is slave
				HAL_GPIO_WritePin(GPIOA, AIN1_Pin, GPIO_PIN_SET); // set direction of rotation for wheel A- reverse
				HAL_GPIO_WritePin(GPIOA, AIN2_Pin, GPIO_PIN_RESET);
				HAL_GPIO_WritePin(GPIOA, BIN2_Pin, GPIO_PIN_RESET); // set direction of rotation for wheel B - Forward
				HAL_GPIO_WritePin(GPIOA, BIN1_Pin, GPIO_PIN_SET);
			} else {
				//go backward
				pwmVal_L = pwmVal_R * (0.49); //left is slave
				//pwmVal_servo = 106;
				HAL_GPIO_WritePin(GPIOA, AIN1_Pin, GPIO_PIN_RESET); // set direction of rotation for wheel A - forward
				HAL_GPIO_WritePin(GPIOA, AIN2_Pin, GPIO_PIN_SET);
				HAL_GPIO_WritePin(GPIOA, BIN2_Pin, GPIO_PIN_SET); // set direction of rotation for wheel B- reverse
				HAL_GPIO_WritePin(GPIOA, BIN1_Pin, GPIO_PIN_RESET);
			}
		}

		else if (pwmVal_servo > 189) { //230 //TURN RIGHT
			pwmVal_L = PID_Angle(error_angle, 0);
			pwmVal_R = pwmVal_L * (0.37); //right is slave

			if (error_angle < 0) {
				//go forward
				//pwmVal_R = pwmVal_L * (0.37); //right is slave
				HAL_GPIO_WritePin(GPIOA, BIN1_Pin, GPIO_PIN_SET); // set direction of rotation for wheel B- Reverse
				HAL_GPIO_WritePin(GPIOA, BIN2_Pin, GPIO_PIN_RESET);
				HAL_GPIO_WritePin(GPIOA, AIN2_Pin, GPIO_PIN_RESET); // set direction of rotation for wheel A - forward
				HAL_GPIO_WritePin(GPIOA, AIN1_Pin, GPIO_PIN_SET);
			} else {
				//go backward
				pwmVal_R = pwmVal_L * (0.305); //right is slave

				HAL_GPIO_WritePin(GPIOA, BIN1_Pin, GPIO_PIN_RESET); // set direction of rotation for wheel B - reverse
				HAL_GPIO_WritePin(GPIOA, BIN2_Pin, GPIO_PIN_SET);
				HAL_GPIO_WritePin(GPIOA, AIN2_Pin, GPIO_PIN_SET); // set direction of rotation for wheel A- forward
				HAL_GPIO_WritePin(GPIOA, AIN1_Pin, GPIO_PIN_RESET);
			}
		}

		else {

			pwmVal_R = PID_Control(leftTarget - leftEncoderVal, 0);
			if (abs(leftTarget - leftEncoderVal)
					> abs(rightTarget - rightEncoderVal)) {
				straightCorrection++;
			} else {
				straightCorrection--;
			}
			if (abs(leftTarget - leftEncoderVal) < 100) {
				straightCorrection = 0;
			}
			pwmVal_L = PID_Control(rightTarget - rightEncoderVal, 1);

			if ((leftTarget - leftEncoderVal) < 0) {
				if (error_angle > 5) { // if turn left, 106. right 230. left +. right -.
					pwmVal_servo = ((19 * 5) / 5 + SERVOCENTER);
				} else if (error_angle < -5) {
					pwmVal_servo = ((-19 * 5) / 5 + SERVOCENTER);
				} else {
					pwmVal_servo = ((19 * error_angle) / 5 + SERVOCENTER);
				}

			} else {
				if (error_angle > 5) { // if turn left, 106. right 230. left +. right -.
					pwmVal_servo = ((-19 * 5) / 5 + SERVOCENTER);
				} else if (error_angle < -5) {
					pwmVal_servo = ((19 * 5) / 5 + SERVOCENTER);
				} else {
					pwmVal_servo = ((-19 * error_angle) / 5 + SERVOCENTER);
				}
			}

			//line correction equation is pwmVal = (19*error)/5 + SERVOCENTER
		}

		if (e_brake) {
			pwmVal_L = pwmVal_R = 0;
			leftTarget = leftEncoderVal;
			rightTarget = rightEncoderVal;
		}

		__HAL_TIM_SetCompare(&htim8,TIM_CHANNEL_1,pwmVal_L);
		__HAL_TIM_SetCompare(&htim8,TIM_CHANNEL_2,pwmVal_R);
		osDelay(1);

		if (times_acceptable > 1000) {
			times_acceptable = 1001;
		}

	}
	/* USER CODE END StartMotorTask */
}

void StartOLEDTask(void *argument) {
	/* USER CODE BEGIN StartOLEDTask */
	uint8_t usVal[20] = { 0 };
	uint8_t gyroVal[20] = { 0 };
	uint8_t command[20] = { 0 };
	uint8_t lefty[20] = { 0 };
	uint8_t righty[20] = { 0 };
	for (;;) {
		sprintf(usVal, "Distance: %d \0", (int) uDistance);
		OLED_ShowString(0, 10, usVal);

//		int decimals = abs((int) ((error_angle - (int) (error_angle)) * 1000));
//		sprintf(gyroVal, "EGyro: %d.%d \0", (int) error_angle, decimals);
//		OLED_ShowString(0, 20, gyroVal);

		int decimals = abs((int) ((total_angle - (int) (total_angle)) * 1000));
		sprintf(gyroVal, "TGyro: %d.%d \0", (int) total_angle, decimals);
		OLED_ShowString(0, 20, gyroVal);
		sprintf(lefty, "L:%d  %d\0", (int)(leftTarget - leftEncoderVal), pwmVal_L);
		OLED_ShowString(0, 30, lefty);

		sprintf(righty, "R:%d  %d\0", (int)(rightTarget - rightEncoderVal), pwmVal_R);
		OLED_ShowString(0, 40, righty);

		sprintf(command, "C: %c%c%c%c%c \0", aRxBuffer[0], aRxBuffer[1],
				aRxBuffer[2], aRxBuffer[3], aRxBuffer[4]);
		OLED_ShowString(0, 50, command);

		OLED_Refresh_Gram();
		osDelay(100);
	}
	/* USER CODE END StartOLEDTask */
}

void StartGyroTask(void *argument) {
	/* USER CODE BEGIN StartGyroTask */
	gyroInit();
	uint8_t val[2] = { 0, 0 };

	int16_t angular_speed = 0;

	uint32_t tick = 0;
	double offset = 0;
	double trash = 0;
	int i = 0;
	while (i < 400) {
		osDelay(50);
		readByte(0x37, val);
		angular_speed = (val[0] << 8) | val[1];
		trash += (double) ((double) angular_speed)
				* ((HAL_GetTick() - tick) / 16400.0);
		offset += angular_speed;
		tick = HAL_GetTick();
		i++;
	}
	buzzerBeep();
	k = 1;
	offset = offset / i;

	tick = HAL_GetTick();
	/* Infinite loop */
	for (;;) {

		osDelay(100);
		readByte(0x37, val);
		angular_speed = (val[0] << 8) | val[1];
		total_angle += (double) ((double) angular_speed - offset)
				* ((HAL_GetTick() - tick) / 16400.0);
		i -= angular_speed;
		tick = HAL_GetTick();
		i++;
	}
	/* USER CODE END StartGyroTask */
}

void StartUltrasonicTask(void *argument) {
	/* USER CODE BEGIN StartUltrasonicTask */
	HAL_TIM_IC_Start_IT(&htim4, TIM_CHANNEL_1);  // HC-SR04 Sensor
	osDelay(5000);

	/* Infinite loop */
	for (;;) {
		HCSR04_Read();

		osDelay(100);
	}
	/* USER CODE END StartUltrasonicTask */
}

void StartCommunicateTask(void *argument) {
	/* USER CODE BEGIN StartCommunicateTask */
	char ack = 'A';
	int corr = 8;

	aRxBuffer[0] = 'E';
	aRxBuffer[1] = 'M';
	aRxBuffer[2] = 'P';
	aRxBuffer[3] = 'T';
	aRxBuffer[4] = 'Y';

	/* Infinite loop */
	for (;;) {

		magnitude = 0;
//		if(k==1){
//			aRxBuffer[0] = 'L';
//			aRxBuffer[1] = 'F';
//			aRxBuffer[2] = '0';
//			aRxBuffer[3] = '9';
//			aRxBuffer[4] = '0';
//			k++;
//		}
//		else
//			if(k==2){
//				aRxBuffer[0] = 'L';
//				aRxBuffer[1] = 'B';
//				aRxBuffer[2] = '0';
//				aRxBuffer[3] = '9';
//				aRxBuffer[4] = '0';
//				k++;
//			}
//			else
//						if(k==3){
//							aRxBuffer[0] = 'R';
//							aRxBuffer[1] = 'F';
//							aRxBuffer[2] = '0';
//							aRxBuffer[3] = '9';
//							aRxBuffer[4] = '0';
//							k++;
//						}
		if ((aRxBuffer[0] == 'G' && aRxBuffer[1] == 'Y' && aRxBuffer[2] == 'R'
				&& aRxBuffer[3] == 'O' && aRxBuffer[4] == 'R')
				|| (aRxBuffer[0] == 'S' || aRxBuffer[0] == 'R'
						|| aRxBuffer[0] == 'L')
						&& (aRxBuffer[1] == 'F' || aRxBuffer[1] == 'B')
						&& (0 <= aRxBuffer[2] - '0' <= 9)
						&& (0 <= aRxBuffer[3] - '0' <= 9)
						&& (0 <= aRxBuffer[4] - '0' <= 9)) {

			magnitude = ((int) (aRxBuffer[2]) - 48) * 100
					+ ((int) (aRxBuffer[3]) - 48) * 10
					+ ((int) (aRxBuffer[4]) - 48);

			if (aRxBuffer[1] == 'B') {
				magnitude *= -1;

			}

			osDelay(300);
			switch (aRxBuffer[0]) {
			case 'S':

				moveCarStraight(magnitude);
				flagDone = 1;
				aRxBuffer[0] = 'D';
				aRxBuffer[1] = 'O';
				aRxBuffer[2] = 'N';
				aRxBuffer[3] = 'E';
				aRxBuffer[4] = '!';
				osDelay(100);
				break;
			case 'R':
//				if (aRxBuffer[1] == 'F') {
//					moveCarStraight(corr);
//
//				}
				moveCarRight(magnitude);
//				if (aRxBuffer[1] == 'B') {
//				moveCarStraight(-8);
//
//				}
				flagDone = 1;
				aRxBuffer[0] = 'D';
				aRxBuffer[1] = 'O';
				aRxBuffer[2] = 'N';
				aRxBuffer[3] = 'E';
				aRxBuffer[4] = '!';
				osDelay(100);
				break;
			case 'L':
//				if (aRxBuffer[1] == 'F') {
//					moveCarStraight(corr);
//
//				}

				moveCarLeft(magnitude);
//				if (aRxBuffer[1] == 'B') {
//				moveCarStraight(-8);
//
//				}
				flagDone = 1;
				aRxBuffer[0] = 'D';
				aRxBuffer[1] = 'O';
				aRxBuffer[2] = 'N';
				aRxBuffer[3] = 'E';
				aRxBuffer[4] = '!';
				osDelay(100);
				break;
			case 'G':
				//NVIC_SystemReset();
				flagDone = 1;
				aRxBuffer[0] = 'D';
				aRxBuffer[1] = 'O';
				aRxBuffer[2] = 'N';
				aRxBuffer[3] = 'E';
				aRxBuffer[4] = '!';
				osDelay(100);
				break;
//			case 'T':
//				flagDone = 1;
//				aRxBuffer[0] = 'D';
//				aRxBuffer[1] = 'O';
//				aRxBuffer[2] = 'N';
//				aRxBuffer[3] = 'E';
//				aRxBuffer[4] = '!';
//				osDelay(100);
//				break;
			}
		}

		if (flagDone == 1) {
			osDelay(100);
			HAL_UART_Transmit(&huart3, (uint8_t*) &ack, 1, 0xFFFF);
			flagDone = 0;
		}

		osDelay(100);
	}
	/* USER CODE END StartCommunicateTask */
}

void StartEncoderRTask(void *argument) {
	/* USER CODE BEGIN StartEncoderRTask */
	/* Infinite loop */
	HAL_TIM_Encoder_Start(&htim3, TIM_CHANNEL_ALL);
	int cnt1;
	int dirR = 1;
	int diff;
	uint32_t tick = HAL_GetTick();
	/* Infinite loop */
	for (;;) {
		if (HAL_GetTick() - tick > 10L) {
			cnt1 = __HAL_TIM_GET_COUNTER(&htim3);
			if (cnt1 > 32000) {
				dirR = 1;
				diff = (65536 - cnt1);
			} else {
				dirR = -1;
				diff = cnt1;
			}

			if (dirR == 1) {
				rightEncoderVal -= diff;
			} else {
				rightEncoderVal += diff;
			}

			__HAL_TIM_SET_COUNTER(&htim3, 0);

			tick = HAL_GetTick();
		}
	}
	/* USER CODE END StartEncoderRTask */
}

void StartEncoderLTask(void *argument) {
	/* USER CODE BEGIN StartEncoderLTask */
	HAL_TIM_Encoder_Start(&htim2, TIM_CHANNEL_ALL);
	int cnt2;
	int dirL = 1;
	int diff;
	uint32_t tick = HAL_GetTick();
	/* Infinite loop */
	for (;;) {
		if (HAL_GetTick() - tick > 10L) {
			cnt2 = __HAL_TIM_GET_COUNTER(&htim2);

			if (cnt2 > 32000) {
				dirL = 1;
				diff = (65536 - cnt2);
			} else {
				dirL = -1;
				diff = cnt2;
			}
			if (dirL == 1) {
				leftEncoderVal += diff;
			} else {
				leftEncoderVal -= diff;
			}

			__HAL_TIM_SET_COUNTER(&htim2, 0);

			tick = HAL_GetTick();
		}
	}

	/* USER CODE END StartEncoderLTask */
}

void Error_Handler(void) {
	__disable_irq();
	while (1) {
	}
}
